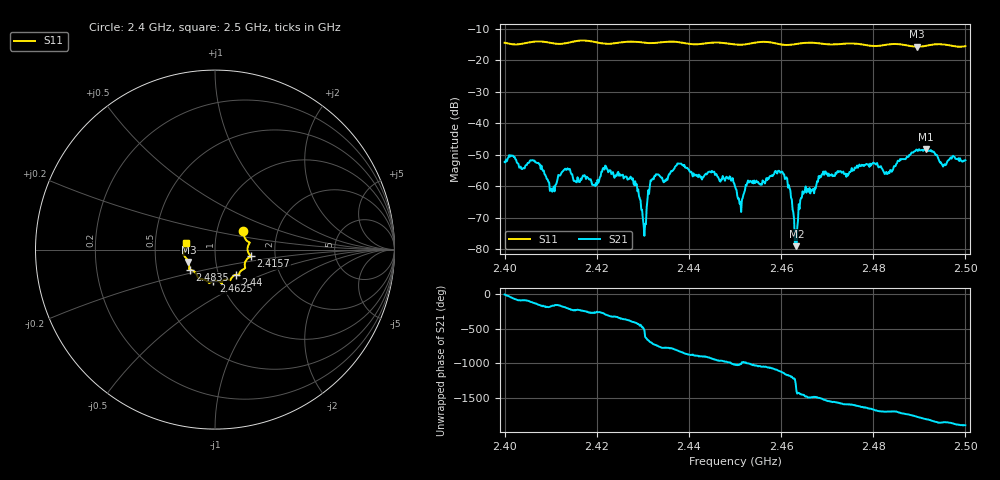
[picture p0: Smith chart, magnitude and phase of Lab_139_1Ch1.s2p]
# Hz S RI R 50
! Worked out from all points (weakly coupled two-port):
!   601 points, 2.4 GHz to 2.5 GHz, reference 50 ohm
!   highest |S21| = -48.26 dB at 2.4915 GHz (marker M1); lowest = -79.0 dB at 2.4633 GHz (marker M2)
!   lowest |S11| = -15.7 dB at 2.4895 GHz (marker M3), VSWR 1.39, Z = 36.8 - j5.16 ohm
!   |S11| at or under -10 dB: start of sweep to end of sweep
!   S12 and S22 are empty: the file has one direction only
!   S11 on the Smith chart (normalised r, x): 2.4 GHz: 1.33, +0.29; 2.4157 GHz: 1.49, -0.11; 2.44 GHz: 1.21, -0.35; 2.4625 GHz: 0.92, -0.34; 2.4835 GHz: 0.74, -0.17; 2.5 GHz: 0.72, +0.05
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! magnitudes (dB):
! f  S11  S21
! 2.4 GHz  -14.5  -52.3
! 2.4068 GHz  -14.1  -52.4
! 2.4103 GHz  -14.6  -61.7
! 2.4132 GHz  -14.7  -54.4
! 2.4157 GHz  -13.9  -58.7
! 2.4167 GHz  -13.7  -57.9
! 2.4273 GHz  -14.1  -57.0
! 2.4302 GHz  -14.4  -72.3
! 2.4333 GHz  -14.4  -56.3
! 2.44 GHz  -14.8  -54.7
! 2.45 GHz  -15.0  -60.0
! 2.4512 GHz  -15.1  -64.9
! 2.4598 GHz  -15.0  -55.7
! 2.4625 GHz  -15.0  -67.4
! 2.4633 GHz  -14.8  -79.0
! 2.4648 GHz  -14.6  -62.4
! 2.4667 GHz  -14.4  -61.4
! 2.4833 GHz  -15.0  -55.5
! 2.4835 GHz  -15.0  -55.8
! 2.4895 GHz  -15.7  -48.4
! 2.4915 GHz  -15.4  -48.3
! 2.5 GHz  -15.6  -51.7
